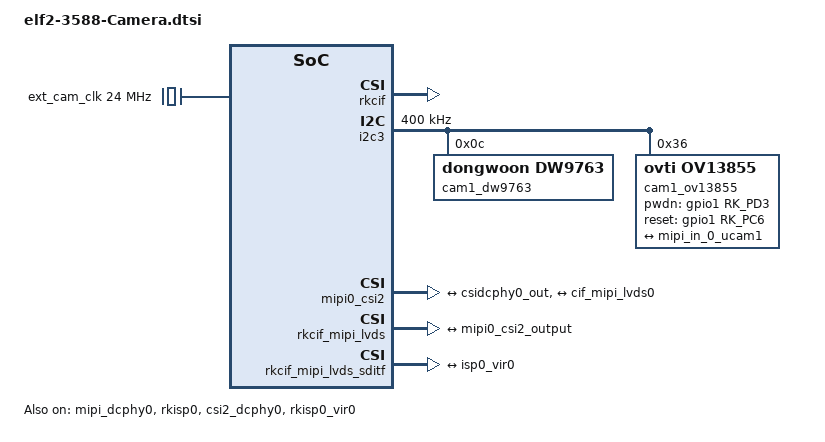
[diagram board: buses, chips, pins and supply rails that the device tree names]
// SPDX-License-Identifier: (GPL-2.0+ OR MIT)
/*
 * Copyright (c) 2022 Forlinx Co., Ltd.
 *

 * rkisp0 --> rkisp0_vir0/rkisp0_vir1/rkisp0_vir2/rkisp0_vir3
 * rkisp1 --> rkisp1_vir0/rkisp1_vir1/rkisp1_vir2/rkisp1_vir3

 * rkcif_mipi_lvds --> rkcif_mipi_lvds[0-4]_sditf

 * mipicamera0 --> csi2_dcphy0 --> mipi0_csi2 -->rkcif_mipi_lvds  --> rkcif_mipi_lvds_sditf  --> rkisp0_vir0
 * mipicamera1 --> csi2_dcphy1 --> mipi1_csi2 -->rkcif_mipi_lvds1 --> rkcif_mipi_lvds1_sditf --> rkisp0_vir1
	
 * csi2_dphy0 or (csi2_dphy1、csi2_dphy2)	dphy0
 * csi2_dphy3 or (csi2_dphy4、csi2_dphy5)	dphy1

 * mipicamera2 --> csi2_dphy1 -->  mipi2_csi2 -->rkcif_mipi_lvds2 -->rkcif_mipi_lvds2_sditf  --> rkisp0_vir2
 * mipicamera3 --> csi2_dphy2 -->  mipi3_csi2 -->rkcif_mipi_lvds3 -->rkcif_mipi_lvds3_sditf  --> rkisp1_vir0
 * mipicamera4 --> csi2_dphy4 -->  mipi4_csi2 -->rkcif_mipi_lvds4 -->rkcif_mipi_lvds4_sditf  --> rkisp1_vir1
 * mipicamera5 --> csi2_dphy5 -->  mipi5_csi2 -->rkcif_mipi_lvds5 -->rkcif_mipi_lvds5_sditf  --> rkisp1_vir2

 * mipicamera6 --> rkcif_dvp ---> rkcif_dvp_sditf
 */

/ {
    ext_cam_clk: external-camera-clock {
        compatible = "fixed-clock";
        clock-frequency = <24000000>;
        clock-output-names = "CLK_CAMERA_24MHZ";
        #clock-cells = <0>;
    };
};

&rkcif {
    status = "okay";
};

&rkcif_mmu {
    status = "okay";
};


//************************************************
//***  CAM1 OV13855 Configuration description  ***
//************************************************

&mipi_dcphy0 {
    status = "okay";
};

&rkisp0 {
    status = "okay";
};

&isp0_mmu {
    status = "okay";
};

&i2c3 {
    status = "okay";
    clock-frequency = <400000>;

   cam1_dw9763: cam1-dw9763@c {
        compatible = "dongwoon,dw9763";
        status = "okay";
        reg = <0x0c>;
        rockchip,vcm-max-current = <120>;
        rockchip,vcm-start-current = <20>;
        rockchip,vcm-rated-current = <90>;
        rockchip,vcm-step-mode = <3>;
        rockchip,vcm-t-src = <0x20>;
        rockchip,vcm-t-div = <1>;
        rockchip,camera-module-index = <0>;
        rockchip,camera-module-facing = "back";
    };

    cam1_ov13855: cam1-ov13855@36 {
        compatible = "ovti,ov13855";
        status = "okay";
        reg = <0x36>;

        clocks = <&ext_cam_clk>;
        clock-names = "xvclk";
	pinctrl-names = "default";
        pinctrl-0 = <&cam1_reset_gpio
                     &cam1_pwren_gpio>;
        pwdn-gpios = <&gpio1 RK_PD3 GPIO_ACTIVE_HIGH>;
        reset-gpios = <&gpio1 RK_PC6 GPIO_ACTIVE_HIGH>;

        rockchip,camera-module-index = <0>;
        rockchip,camera-module-facing = "back";
        rockchip,camera-module-name = "CMK-OT2016-FV1";
        rockchip,camera-module-lens-name = "default";
        lens-focus = <&cam1_dw9763>;
        port {
            cam1_ov13855_out: endpoint {
            remote-endpoint = <&mipi_in_0_ucam1>;
            data-lanes = <1 2>;
            };
        };
    };
};

&csi2_dcphy0 {
    status = "okay";
    ports {
        #address-cells = <1>;
        #size-cells = <0>;
        port@0 {
            reg = <0>;
            #address-cells = <1>;
            #size-cells = <0>;
            mipi_in_0_ucam1: endpoint@1 {
                reg = <1>;
                remote-endpoint = <&cam1_ov13855_out>;
                data-lanes = <1 2>;
            };
        };
        port@1 {
            reg = <1>;
            #address-cells = <1>;
            #size-cells = <0>;
            csidcphy0_out: endpoint@0 {
                reg = <0>;
                remote-endpoint = <&mipi0_csi2_input>;
            };
        };
    };
};

&mipi0_csi2 {
    status = "okay";
    ports {
        #address-cells = <1>;
        #size-cells = <0>;
        port@0 {
            reg = <0>;
            #address-cells = <1>;
            #size-cells = <0>;
            mipi0_csi2_input: endpoint@1 {
                reg = <1>;
                remote-endpoint = <&csidcphy0_out>;
            };
        };
        port@1 {
            reg = <1>;
            #address-cells = <1>;
            #size-cells = <0>;
            mipi0_csi2_output: endpoint@0 {
                reg = <0>;
                remote-endpoint = <&cif_mipi_lvds0>;
            };
        };
    };
};

&rkcif_mipi_lvds {
    status = "okay";
    port {
        cif_mipi_lvds0: endpoint {
            remote-endpoint = <&mipi0_csi2_output>;
        };
    };
};

&rkcif_mipi_lvds_sditf {
    status = "okay";
    port {
        mipi_lvds_sditf: endpoint {
            remote-endpoint = <&isp0_vir0>;
        };
    };
};

&rkisp0_vir0 {
    status = "okay";
    port {
        #address-cells = <1>;
        #size-cells = <0>;
        isp0_vir0: endpoint@0 {
            reg = <0>;
            remote-endpoint = <&mipi_lvds_sditf>;
        };
    };
};

